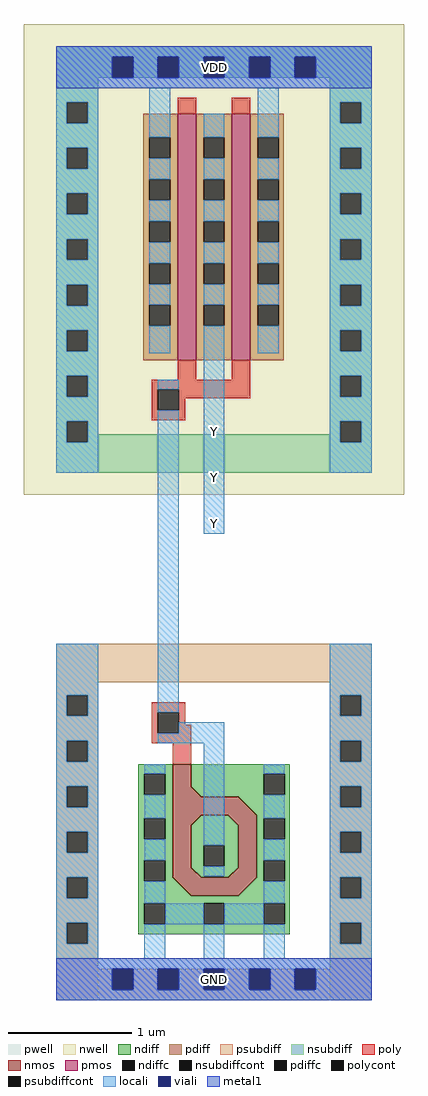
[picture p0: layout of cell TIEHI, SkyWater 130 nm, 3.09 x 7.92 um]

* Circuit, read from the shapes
.subckt TIEHI Y VDD GND
XM1 GND n1 n1 GND sky130_fd_pr__nfet_01v8 w=2.56 l=0.1487
XM2 Y n1 VDD VDD sky130_fd_pr__pfet_01v8 w=2 l=0.15 m=2
.ends

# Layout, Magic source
magic
tech sky130A
magscale 1 2
<< nwell >>
rect -87 786 531 1550
<< pwell >>
rect -34 -34 34 544
rect 57 -17 91 17
rect 410 -34 478 544
<< nmos >>
rect 155 296 185 349
tri 185 296 201 312 sw
rect 155 266 261 296
tri 261 266 291 296 sw
rect 155 165 185 266
tri 185 250 201 266 nw
tri 245 250 261 266 ne
tri 185 165 201 181 sw
tri 245 165 261 181 se
rect 261 165 291 266
tri 155 135 185 165 ne
rect 185 135 261 165
tri 261 135 291 165 nw
<< pmos >>
rect 163 1004 193 1404
rect 251 1004 281 1404
<< ndiff >>
rect 99 333 155 349
rect 99 299 109 333
rect 143 299 155 333
rect 99 261 155 299
rect 185 333 345 349
rect 185 312 303 333
tri 185 296 201 312 ne
rect 201 299 303 312
rect 337 299 345 333
rect 201 296 345 299
tri 261 266 291 296 ne
rect 99 227 109 261
rect 143 227 155 261
rect 99 193 155 227
rect 99 159 109 193
rect 143 159 155 193
tri 185 250 201 266 se
rect 201 250 245 266
tri 245 250 261 266 sw
rect 185 217 261 250
rect 185 183 205 217
rect 239 183 261 217
rect 185 181 261 183
tri 185 165 201 181 ne
rect 201 165 245 181
tri 245 165 261 181 nw
rect 291 261 345 296
rect 291 227 303 261
rect 337 227 345 261
rect 291 193 345 227
rect 99 135 155 159
tri 155 135 185 165 sw
tri 261 135 291 165 se
rect 291 159 303 193
rect 337 159 345 193
rect 291 135 345 159
rect 99 123 345 135
rect 99 89 109 123
rect 143 89 205 123
rect 239 89 303 123
rect 337 89 345 123
rect 99 73 345 89
<< pdiff >>
rect 107 1366 163 1404
rect 107 1332 117 1366
rect 151 1332 163 1366
rect 107 1298 163 1332
rect 107 1264 117 1298
rect 151 1264 163 1298
rect 107 1230 163 1264
rect 107 1196 117 1230
rect 151 1196 163 1230
rect 107 1162 163 1196
rect 107 1128 117 1162
rect 151 1128 163 1162
rect 107 1094 163 1128
rect 107 1060 117 1094
rect 151 1060 163 1094
rect 107 1004 163 1060
rect 193 1366 251 1404
rect 193 1332 205 1366
rect 239 1332 251 1366
rect 193 1298 251 1332
rect 193 1264 205 1298
rect 239 1264 251 1298
rect 193 1230 251 1264
rect 193 1196 205 1230
rect 239 1196 251 1230
rect 193 1162 251 1196
rect 193 1128 205 1162
rect 239 1128 251 1162
rect 193 1094 251 1128
rect 193 1060 205 1094
rect 239 1060 251 1094
rect 193 1004 251 1060
rect 281 1366 335 1404
rect 281 1332 293 1366
rect 327 1332 335 1366
rect 281 1298 335 1332
rect 281 1264 293 1298
rect 327 1264 335 1298
rect 281 1230 335 1264
rect 281 1196 293 1230
rect 327 1196 335 1230
rect 281 1162 335 1196
rect 281 1128 293 1162
rect 327 1128 335 1162
rect 281 1094 335 1128
rect 281 1060 293 1094
rect 327 1060 335 1094
rect 281 1004 335 1060
<< ndiffc >>
rect 109 299 143 333
rect 303 299 337 333
rect 109 227 143 261
rect 109 159 143 193
rect 205 183 239 217
rect 303 227 337 261
rect 303 159 337 193
rect 109 89 143 123
rect 205 89 239 123
rect 303 89 337 123
<< pdiffc >>
rect 117 1332 151 1366
rect 117 1264 151 1298
rect 117 1196 151 1230
rect 117 1128 151 1162
rect 117 1060 151 1094
rect 205 1332 239 1366
rect 205 1264 239 1298
rect 205 1196 239 1230
rect 205 1128 239 1162
rect 205 1060 239 1094
rect 293 1332 327 1366
rect 293 1264 327 1298
rect 293 1196 327 1230
rect 293 1128 327 1162
rect 293 1060 327 1094
<< psubdiff >>
rect -34 482 478 544
rect -34 461 34 482
rect -34 427 -17 461
rect 17 427 34 461
rect 410 461 478 482
rect -34 387 34 427
rect -34 353 -17 387
rect 17 353 34 387
rect 410 427 427 461
rect 461 427 478 461
rect -34 313 34 353
rect 410 387 478 427
rect 410 353 427 387
rect 461 353 478 387
rect -34 279 -17 313
rect 17 279 34 313
rect -34 239 34 279
rect -34 205 -17 239
rect 17 205 34 239
rect -34 165 34 205
rect -34 131 -17 165
rect 17 131 34 165
rect -34 91 34 131
rect -34 57 -17 91
rect 17 57 34 91
rect 410 313 478 353
rect 410 279 427 313
rect 461 279 478 313
rect 410 239 478 279
rect 410 205 427 239
rect 461 205 478 239
rect 410 165 478 205
rect 410 131 427 165
rect 461 131 478 165
rect 410 91 478 131
rect -34 17 34 57
rect 410 57 427 91
rect 461 57 478 91
rect 410 17 478 57
rect -34 -17 57 17
rect 91 -17 131 17
rect 165 -17 205 17
rect 239 -17 279 17
rect 313 -17 353 17
rect 387 -17 478 17
rect -34 -34 478 -17
<< nsubdiff >>
rect -34 1497 478 1514
rect -34 1463 57 1497
rect 91 1463 131 1497
rect 165 1463 205 1497
rect 239 1463 279 1497
rect 313 1463 353 1497
rect 387 1463 478 1497
rect -34 1423 34 1463
rect -34 1389 -17 1423
rect 17 1389 34 1423
rect 410 1423 478 1463
rect -34 1349 34 1389
rect -34 1315 -17 1349
rect 17 1315 34 1349
rect -34 1275 34 1315
rect -34 1241 -17 1275
rect 17 1241 34 1275
rect -34 1201 34 1241
rect -34 1167 -17 1201
rect 17 1167 34 1201
rect -34 1127 34 1167
rect -34 1093 -17 1127
rect 17 1093 34 1127
rect -34 1053 34 1093
rect -34 1019 -17 1053
rect 17 1019 34 1053
rect -34 979 34 1019
rect 410 1389 427 1423
rect 461 1389 478 1423
rect 410 1349 478 1389
rect 410 1315 427 1349
rect 461 1315 478 1349
rect 410 1275 478 1315
rect 410 1241 427 1275
rect 461 1241 478 1275
rect 410 1201 478 1241
rect 410 1167 427 1201
rect 461 1167 478 1201
rect 410 1127 478 1167
rect 410 1093 427 1127
rect 461 1093 478 1127
rect 410 1053 478 1093
rect 410 1019 427 1053
rect 461 1019 478 1053
rect -34 945 -17 979
rect 17 945 34 979
rect -34 905 34 945
rect 410 979 478 1019
rect 410 945 427 979
rect 461 945 478 979
rect -34 871 -17 905
rect 17 884 34 905
rect 410 905 478 945
rect 410 884 427 905
rect 17 871 427 884
rect 461 871 478 905
rect -34 822 478 871
<< psubdiffcont >>
rect -17 427 17 461
rect -17 353 17 387
rect 427 427 461 461
rect 427 353 461 387
rect -17 279 17 313
rect -17 205 17 239
rect -17 131 17 165
rect -17 57 17 91
rect 427 279 461 313
rect 427 205 461 239
rect 427 131 461 165
rect 427 57 461 91
rect 57 -17 91 17
rect 131 -17 165 17
rect 205 -17 239 17
rect 279 -17 313 17
rect 353 -17 387 17
<< nsubdiffcont >>
rect 57 1463 91 1497
rect 131 1463 165 1497
rect 205 1463 239 1497
rect 279 1463 313 1497
rect 353 1463 387 1497
rect -17 1389 17 1423
rect -17 1315 17 1349
rect -17 1241 17 1275
rect -17 1167 17 1201
rect -17 1093 17 1127
rect -17 1019 17 1053
rect 427 1389 461 1423
rect 427 1315 461 1349
rect 427 1241 461 1275
rect 427 1167 461 1201
rect 427 1093 461 1127
rect 427 1019 461 1053
rect -17 945 17 979
rect 427 945 461 979
rect -17 871 17 905
rect 427 871 461 905
<< poly >>
rect 163 1404 193 1430
rect 251 1404 281 1430
rect 163 973 193 1004
rect 251 973 281 1004
rect 121 957 281 973
rect 121 923 131 957
rect 165 943 281 957
rect 165 923 175 943
rect 121 907 175 923
rect 121 433 175 449
rect 121 399 131 433
rect 165 413 175 433
rect 165 399 185 413
rect 121 383 185 399
rect 155 349 185 383
<< polycont >>
rect 131 923 165 957
rect 131 399 165 433
<< locali >>
rect -34 1497 478 1514
rect -34 1463 57 1497
rect 91 1463 131 1497
rect 165 1463 205 1497
rect 239 1463 279 1497
rect 313 1463 353 1497
rect 387 1463 478 1497
rect -34 1446 478 1463
rect -34 1423 34 1446
rect -34 1389 -17 1423
rect 17 1389 34 1423
rect -34 1349 34 1389
rect -34 1315 -17 1349
rect 17 1315 34 1349
rect -34 1275 34 1315
rect -34 1241 -17 1275
rect 17 1241 34 1275
rect -34 1201 34 1241
rect -34 1167 -17 1201
rect 17 1167 34 1201
rect -34 1127 34 1167
rect -34 1093 -17 1127
rect 17 1093 34 1127
rect -34 1053 34 1093
rect -34 1019 -17 1053
rect 17 1019 34 1053
rect -34 979 34 1019
rect 117 1366 151 1446
rect 117 1298 151 1332
rect 117 1230 151 1264
rect 117 1162 151 1196
rect 117 1094 151 1128
rect 117 1016 151 1060
rect 205 1366 239 1404
rect 205 1298 239 1332
rect 205 1230 239 1264
rect 205 1162 239 1196
rect 205 1094 239 1128
rect -34 945 -17 979
rect 17 945 34 979
rect -34 905 34 945
rect -34 871 -17 905
rect 17 871 34 905
rect -34 822 34 871
rect 131 957 165 973
rect -34 461 34 544
rect -34 427 -17 461
rect 17 427 34 461
rect -34 387 34 427
rect -34 353 -17 387
rect 17 353 34 387
rect 131 433 165 923
rect 205 723 239 1060
rect 293 1366 327 1446
rect 293 1298 327 1332
rect 293 1230 327 1264
rect 293 1162 327 1196
rect 293 1094 327 1128
rect 293 1016 327 1060
rect 410 1423 478 1446
rect 410 1389 427 1423
rect 461 1389 478 1423
rect 410 1349 478 1389
rect 410 1315 427 1349
rect 461 1315 478 1349
rect 410 1275 478 1315
rect 410 1241 427 1275
rect 461 1241 478 1275
rect 410 1201 478 1241
rect 410 1167 427 1201
rect 461 1167 478 1201
rect 410 1127 478 1167
rect 410 1093 427 1127
rect 461 1093 478 1127
rect 410 1053 478 1093
rect 410 1019 427 1053
rect 461 1019 478 1053
rect 410 979 478 1019
rect 410 945 427 979
rect 461 945 478 979
rect 410 905 478 945
rect 410 871 427 905
rect 461 871 478 905
rect 410 822 478 871
rect 410 461 478 544
rect 410 427 427 461
rect 461 427 478 461
rect 165 399 239 417
rect 131 383 239 399
rect -34 313 34 353
rect -34 279 -17 313
rect 17 279 34 313
rect -34 239 34 279
rect -34 205 -17 239
rect 17 205 34 239
rect -34 165 34 205
rect -34 131 -17 165
rect 17 131 34 165
rect -34 91 34 131
rect -34 57 -17 91
rect 17 57 34 91
rect -34 34 34 57
rect 109 333 143 349
rect 109 261 143 299
rect 109 193 143 227
rect 205 217 239 383
rect 410 387 478 427
rect 410 353 427 387
rect 461 353 478 387
rect 205 167 239 183
rect 303 333 337 349
rect 303 261 337 299
rect 303 193 337 227
rect 109 123 143 159
rect 303 123 337 159
rect 143 89 205 123
rect 239 89 303 123
rect 109 34 143 89
rect 205 34 239 89
rect 303 34 337 89
rect 410 313 478 353
rect 410 279 427 313
rect 461 279 478 313
rect 410 239 478 279
rect 410 205 427 239
rect 461 205 478 239
rect 410 165 478 205
rect 410 131 427 165
rect 461 131 478 165
rect 410 91 478 131
rect 410 57 427 91
rect 461 57 478 91
rect 410 34 478 57
rect -34 17 478 34
rect -34 -17 57 17
rect 91 -17 131 17
rect 165 -17 205 17
rect 239 -17 279 17
rect 313 -17 353 17
rect 387 -17 478 17
rect -34 -34 478 -17
<< viali >>
rect 57 1463 91 1497
rect 131 1463 165 1497
rect 205 1463 239 1497
rect 279 1463 313 1497
rect 353 1463 387 1497
rect 57 -17 91 17
rect 131 -17 165 17
rect 205 -17 239 17
rect 279 -17 313 17
rect 353 -17 387 17
<< metal1 >>
rect -34 1497 478 1514
rect -34 1463 57 1497
rect 91 1463 131 1497
rect 165 1463 205 1497
rect 239 1463 279 1497
rect 313 1463 353 1497
rect 387 1463 478 1497
rect -34 1446 478 1463
rect -34 17 478 34
rect -34 -17 57 17
rect 91 -17 131 17
rect 165 -17 205 17
rect 239 -17 279 17
rect 313 -17 353 17
rect 387 -17 478 17
rect -34 -34 478 -17
<< labels >>
rlabel locali 205 723 239 757 1 Y
port 1 nsew signal output
rlabel locali 205 797 239 831 1 Y
port 1 nsew signal output
rlabel locali 205 871 239 905 1 Y
port 1 nsew signal output
rlabel metal1 -34 1446 478 1514 1 VDD
port 2 nsew power bidirectional abutment
rlabel metal1 -34 -34 478 34 1 GND
port 3 nsew ground bidirectional abutment
<< end >>
